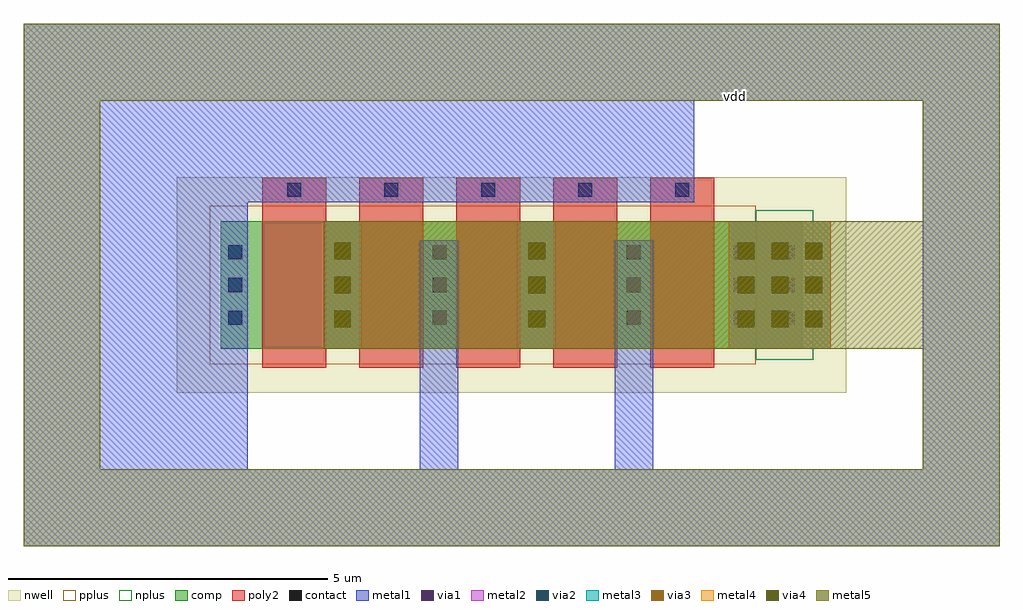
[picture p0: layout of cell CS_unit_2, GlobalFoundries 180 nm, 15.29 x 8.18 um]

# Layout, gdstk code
import gdstk
lib = gdstk.Library(unit=1e-6, precision=5e-09)
def R(c, l, rs):  # rectangles x0, y0, x1, y1
    for r in rs: c.add(gdstk.rectangle(r[:2], r[2:], *l))
def A(c, l, x, y, w, h, nx, ny, dx, dy):  # array of equal rectangles
    R(c, l, [(x+i*dx, y+j*dy, x+i*dx+w, y+j*dy+h) for i in range(nx) for j in range(ny)])
nwell = (21, 0)
comp = (22, 0)
poly2 = (30, 0)
pplus = (31, 0)
nplus = (32, 0)
contact = (33, 0)
metal1 = (34, 0)
via1 = (35, 0)
metal2 = (36, 0)
via2 = (38, 0)
via3 = (40, 0)
via4 = (41, 0)
metal3 = (42, 0)
metal4 = (46, 0)
metal5 = (81, 0)

pfet = lib.new_cell('pfet')
R(pfet, nwell, [(-1.15,-0.69,9.34,2.69)])
R(pfet, comp, [(-0.46,0,0,2), (0,0,7.46,2), (7.46,0,7.92,2), (7.92,0,8.65,2)])
A(pfet, poly2, 0.19, -0.3, 1, 2.6, 5, 1, 1.52, 0)
A(pfet, poly2, 0.19, 2.3, 1, 0.38, 5, 1, 1.52, 0)
R(pfet, pplus, [(-0.63,-0.24,7.92,2.24)])
R(pfet, nplus, [(7.92,-0.17,8.82,2.17)])
A(pfet, contact, -0.34, 0.38, 0.22, 0.22, 1, 3, 0, 0.51)
A(pfet, contact, 1.34, 0.38, 0.22, 0.22, 4, 3, 1.52, 0.51)
A(pfet, contact, 7.58, 0.38, 0.22, 0.22, 1, 3, 0, 0.51)
A(pfet, contact, 8.31, 0.38, 0.22, 0.22, 1, 3, 0, 0.51)
A(pfet, contact, 0.58, 2.38, 0.22, 0.22, 5, 1, 1.52, 0)
A(pfet, metal1, 1.26, 0.3, 0.38, 1.4, 4, 1, 1.52, 0)
A(pfet, metal1, 0.5, 2.3, 0.38, 0.38, 5, 1, 1.52, 0)
R(pfet, metal1, [(-0.42,0.3,-0.04,1.7), (7.5,0.3,7.88,1.7), (8.23,0.3,8.61,1.7)])

via_dev_2 = lib.new_cell('via_dev$2')
R(via_dev_2, metal1, [(0,0,0.6,2)])
A(via_dev_2, via1, 0.17, 0.34, 0.26, 0.26, 1, 3, 0, 0.53)
R(via_dev_2, metal2, [(0,0,0.6,2)])
A(via_dev_2, via2, 0.17, 0.34, 0.26, 0.26, 1, 3, 0, 0.53)
A(via_dev_2, via3, 0.17, 0.34, 0.26, 0.26, 1, 3, 0, 0.53)
A(via_dev_2, via4, 0.17, 0.34, 0.26, 0.26, 1, 3, 0, 0.53)
R(via_dev_2, metal3, [(0,0,0.6,2)])
R(via_dev_2, metal4, [(0,0,0.6,2)])
R(via_dev_2, metal5, [(0,0,0.6,2)])

via_dev_1 = lib.new_cell('via_dev$1')
R(via_dev_1, metal1, [(0,0,1.6,2)])
A(via_dev_1, via1, 0.14, 0.34, 0.26, 0.26, 3, 3, 0.53, 0.53)
R(via_dev_1, metal2, [(0,0,1.6,2)])
A(via_dev_1, via2, 0.14, 0.34, 0.26, 0.26, 3, 3, 0.53, 0.53)
A(via_dev_1, via3, 0.14, 0.34, 0.26, 0.26, 3, 3, 0.53, 0.53)
A(via_dev_1, via4, 0.14, 0.34, 0.26, 0.26, 3, 3, 0.53, 0.53)
R(via_dev_1, metal3, [(0,0,1.6,2)])
R(via_dev_1, metal4, [(0,0,1.6,2)])
R(via_dev_1, metal5, [(0,0,1.6,2)])

cs_unit_2 = lib.new_cell('CS_unit_2')
R(cs_unit_2, metal1, [(1.085,1.075,3.51,7.22), (3.215,5.39,10.51,7.22)])
R(cs_unit_2, metal5, [(4.7,3.09,14.56,5.09)])
cs_unit_2.add(gdstk.FlexPath([(6.51,4.79),(6.51,0.585)], 0.6, ends="flush", simple_path=True, layer=34, datatype=0))  # metal1
cs_unit_2.add(gdstk.FlexPath([(9.565,4.79),(9.565,0.65)], 0.6, ends="flush", simple_path=True, layer=34, datatype=0))  # metal1
cs_unit_2.add(gdstk.FlexPath([(0.6,7.58),(0.6,0.6),(14.69,0.6),(14.69,7.58),(0,7.58)], 1.2, ends="flush", simple_path=True, layer=34, datatype=0))  # metal1
cs_unit_2.add(gdstk.FlexPath([(0.6,7.58),(0.6,0.6),(14.69,0.6),(14.69,7.58),(0,7.58)], 1.2, ends="flush", simple_path=True, layer=81, datatype=0))  # metal5
cs_unit_2.add(gdstk.Reference(pfet, (3.55,3.09)))
cs_unit_2.add(gdstk.Reference(via_dev_2, (7.74,3.09)))
cs_unit_2.add(gdstk.Reference(via_dev_1, (11.05,3.09)))
cs_unit_2.add(gdstk.Reference(via_dev_2, (4.7,3.09)))
cs_unit_2.add(gdstk.Label('vdd', (11.16,7.05), layer=81, texttype=10))

lib.write_gds('CS_unit_2.gds')
